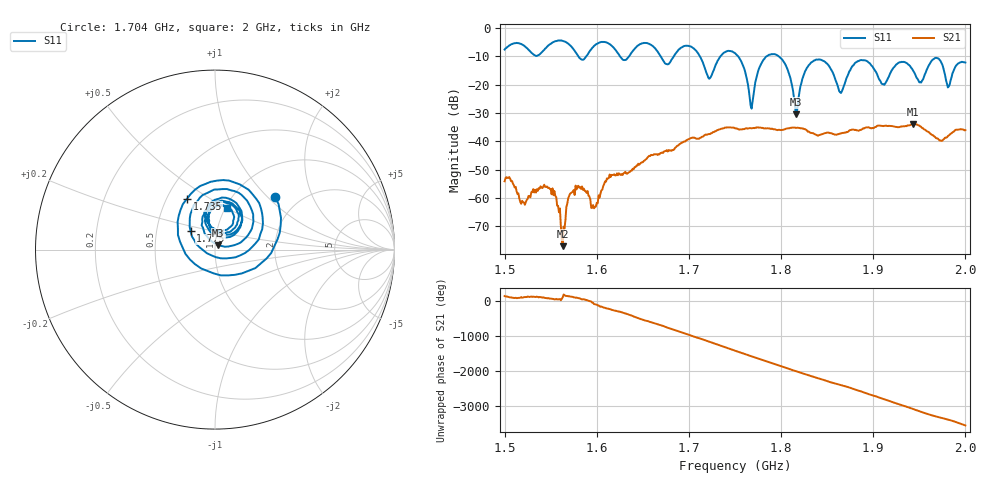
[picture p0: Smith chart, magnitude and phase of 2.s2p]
! NanoVNA-App by SYSJOINT et al v1.1.209 (+OD18)
! Date: 2026-01-21 14:45:55
! Start: 1,5GHz Stop: 2GHz Points: 501
! S-Parameter data: F S11 S21 S12 S22
# Hz S RI R 50
!  Frequency  S11_Real  S11_Imag  S21_Real  S21_Imag  S12_Real  S12_Imag  S22_Real  S22_Imag
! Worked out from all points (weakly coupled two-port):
!   501 points, 1.5 GHz to 2 GHz, reference 50 ohm
!   highest |S21| = -33.99 dB at 1.943 GHz (marker M1); lowest = -77.0 dB at 1.563 GHz (marker M2)
!   lowest |S11| = -30.4 dB at 1.816 GHz (marker M3), VSWR 1.06, Z = 51.8 + j2.47 ohm
!   |S11| at or under -10 dB: 1.712 GHz to 1.734 GHz (22.58 MHz wide, 1.31 % of centre); 1.753 GHz to 1.785 GHz (31.53 MHz wide, 1.78 % of centre); 1.797 GHz to end of sweep (the widest 3 of 6)
!   S12 and S22 are empty: the file has one direction only
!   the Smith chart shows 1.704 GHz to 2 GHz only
!   S11 on the Smith chart (normalised r, x): 1.704 GHz: 1.51, +1.11; 1.735 GHz: 0.63, +0.40; 1.775 GHz: 0.75, +0.16; 2 GHz: 1.02, +0.51
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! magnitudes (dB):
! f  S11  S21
! 1.5 GHz  -7.7  -54.1
! 1.55 GHz  -5.7  -56.8
! 1.563 GHz  -4.6  -77.0
! 1.571 GHz  -6.1  -58.5
! 1.584 GHz  -11.2  -55.9
! 1.597 GHz  -6.4  -63.6
! 1.667 GHz  -8.9  -44.5
! 1.704 GHz  -7.0  -38.7
! 1.722 GHz  -18.0  -37.5
! 1.735 GHz  -9.8  -35.6
! 1.75 GHz  -8.9  -35.4
! 1.768 GHz  -28.5  -35.4
! 1.775 GHz  -15.4  -35.1
! 1.799 GHz  -10.5  -36.0
! 1.816 GHz  -30.4  -35.3
! 1.834 GHz  -12.0  -37.2
! 1.865 GHz  -23.0  -37.2
! 1.885 GHz  -11.6  -36.2
! 1.917 GHz  -17.2  -34.6
! 1.943 GHz  -15.0  -34.0
! 1.982 GHz  -20.7  -37.9
! 2 GHz  -12.3  -36.1
